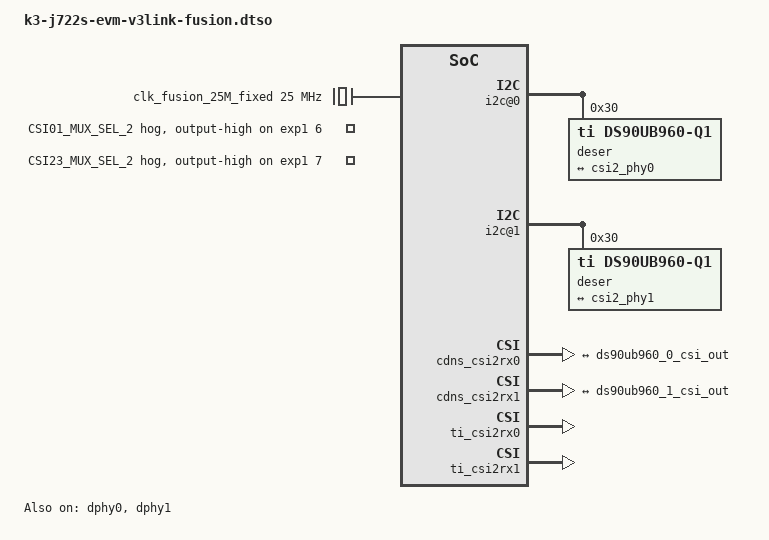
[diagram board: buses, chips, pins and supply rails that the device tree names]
// SPDX-License-Identifier: GPL-2.0
/*
 * DT Overlay for Arducam V3Link UC-A09 board
 * https://www.arducam.com/fpd-link-3-cameras/
 *
 * Copyright (C) 2024 Texas Instruments Incorporated - http://www.ti.com/
 */

/dts-v1/;
/plugin/;

#include <dt-bindings/gpio/gpio.h>

&{/} {
	clk_fusion_25M_fixed: fixed-clock-25M {
		compatible = "fixed-clock";
		#clock-cells = <0>;
		clock-frequency = <25000000>;
	};
};

&exp1 {
	p06-hog {
		/* P06 - CSI01_MUX_SEL_2 */
		gpio-hog;
		gpios = <6 GPIO_ACTIVE_HIGH>;
		output-high;
		line-name = "CSI01_MUX_SEL_2";
	};

	p07-hog {
		/* P01 - CSI23_MUX_SEL_2 */
		gpio-hog;
		gpios = <7 GPIO_ACTIVE_HIGH>;
		output-high;
		line-name = "CSI23_MUX_SEL_2";
	};
};

&pca9543_0 {
	#address-cells = <1>;
	#size-cells = <0>;

	/* CAM0 I2C */
	i2c@0 {
		#address-cells = <1>;
		#size-cells = <0>;
		reg = <0>;

		deser@30 {
			compatible = "ti,ds90ub960-q1";
			reg = <0x30>;

			clock-names = "refclk";
			clocks = <&clk_fusion_25M_fixed>;

			i2c-alias-pool = <0x4a 0x4b 0x4c 0x4d 0x4e 0x4f>;

			ds90ub960_0_ports: ports {
				#address-cells = <1>;
				#size-cells = <0>;

				/* CSI-2 TX */
				port@4 {
					reg = <4>;
					ds90ub960_0_csi_out: endpoint {
						data-lanes = <1 2 3 4>;
						clock-lanes = <0>;
						link-frequencies = /bits/ 64 <800000000>;
						remote-endpoint = <&csi2_phy0>;
					};
				};
			};

			ds90ub960_0_links: links {
				#address-cells = <1>;
				#size-cells = <0>;
			};
		};
	};

	/* CAM1 I2C */
	i2c@1 {
		#address-cells = <1>;
		#size-cells = <0>;
		reg = <1>;

		deser@30 {
			compatible = "ti,ds90ub960-q1";
			reg = <0x30>;

			clock-names = "refclk";
			clocks = <&clk_fusion_25M_fixed>;

			i2c-alias-pool = <0x5a 0x5b 0x5c 0x5d 0x5e 0x5f>;

			ds90ub960_1_ports: ports {
				#address-cells = <1>;
				#size-cells = <0>;

				/* CSI-2 TX */
				port@4 {
					reg = <4>;
					ds90ub960_1_csi_out: endpoint {
						data-lanes = <1 2 3 4>;
						clock-lanes = <0>;
						link-frequencies = /bits/ 64 <800000000>;
						remote-endpoint = <&csi2_phy1>;
					};
				};
			};

			ds90ub960_1_links: links {
				#address-cells = <1>;
				#size-cells = <0>;
			};
		};
	};
};

&cdns_csi2rx0 {
	ports {
		#address-cells = <1>;
		#size-cells = <0>;

		csi0_port0: port@0 {
			reg = <0>;
			status = "okay";

			csi2_phy0: endpoint {
				remote-endpoint = <&ds90ub960_0_csi_out>;
				clock-lanes = <0>;
				data-lanes = <1 2 3 4>;
				link-frequencies = /bits/ 64 <800000000>;
			};
		};
	};
};

&cdns_csi2rx1 {
	ports {
		#address-cells = <1>;
		#size-cells = <0>;

		csi1_port0: port@0 {
			reg = <0>;
			status = "okay";

			csi2_phy1: endpoint {
				remote-endpoint = <&ds90ub960_1_csi_out>;
				clock-lanes = <0>;
				data-lanes = <1 2 3 4>;
				link-frequencies = /bits/ 64 <800000000>;
			};
		};
	};
};

&ti_csi2rx0 {
	status = "okay";
};

&dphy0 {
	status = "okay";
};

&ti_csi2rx1 {
	status = "okay";
};

&dphy1 {
	status = "okay";
};
